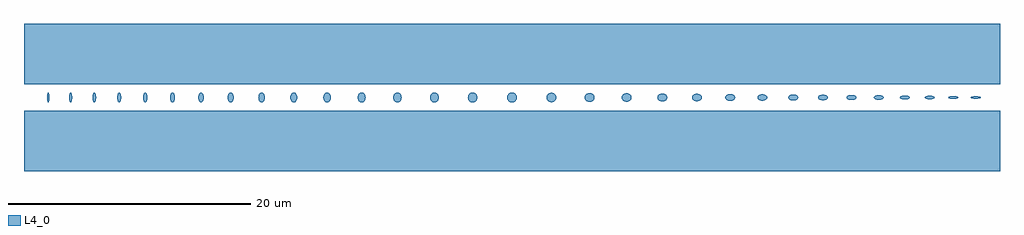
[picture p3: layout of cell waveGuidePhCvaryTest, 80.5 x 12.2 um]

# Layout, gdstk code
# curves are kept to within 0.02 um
import gdstk
lib = gdstk.Library(unit=1e-6, precision=1e-09)
def R(c, l, rs):  # rectangles x0, y0, x1, y1
    for r in rs: c.add(gdstk.rectangle(r[:2], r[2:], *l))
def P(c, l, *ps):  # polygons
    for p in ps: c.add(gdstk.Polygon(p, *l))
L4_0 = (4, 0)

waveguidephcvarytest = lib.new_cell('waveGuidePhCvaryTest')
R(waveguidephcvarytest, L4_0, [(-35.25,-10.1,45.25,-5.1), (-35.25,-2.9,45.25,2.1)])
P(waveguidephcvarytest, L4_0, [(-33.25,-4.4),(-33.281,-4.38),(-33.321,-4.283),(-33.35,-4),(-33.321,-3.717),(-33.281,-3.62),(-33.25,-3.6),(-33.219,-3.62),(-33.179,-3.717),(-33.15,-4),(-33.179,-4.283),(-33.219,-4.38)],
  [(-31.409,-4.399),(-31.488,-4.272),(-31.519,-3.94),(-31.475,-3.687),(-31.427,-3.61),(-31.391,-3.601),(-31.312,-3.728),(-31.281,-4.06),(-31.325,-4.313),(-31.373,-4.39)],
  [(-29.45,-4.4),(-29.542,-4.302),(-29.59,-4),(-29.556,-3.738),(-29.508,-3.636),(-29.45,-3.6),(-29.358,-3.698),(-29.31,-4),(-29.344,-4.262),(-29.392,-4.364)],
  [(-27.411,-4.399),(-27.474,-4.355),(-27.524,-4.252),(-27.559,-3.946),(-27.492,-3.673),(-27.389,-3.601),(-27.326,-3.645),(-27.276,-3.748),(-27.241,-4.054),(-27.308,-4.327)],
  [(-25.25,-4.4),(-25.319,-4.37),(-25.377,-4.283),(-25.43,-4),(-25.377,-3.717),(-25.319,-3.63),(-25.25,-3.6),(-25.181,-3.63),(-25.123,-3.717),(-25.07,-4),(-25.123,-4.283),(-25.181,-4.37)],
  [(-23.013,-4.399),(-23.085,-4.362),(-23.146,-4.274),(-23.2,-4),(-23.146,-3.726),(-23.085,-3.638),(-22.987,-3.601),(-22.915,-3.638),(-22.854,-3.726),(-22.8,-4),(-22.854,-4.274),(-22.915,-4.362)],
  [(-20.65,-4.4),(-20.728,-4.374),(-20.815,-4.265),(-20.87,-4),(-20.815,-3.735),(-20.728,-3.626),(-20.65,-3.6),(-20.572,-3.626),(-20.485,-3.735),(-20.43,-4),(-20.485,-4.265),(-20.572,-4.374)],
  [(-18.214,-4.399),(-18.295,-4.367),(-18.365,-4.291),(-18.426,-4.137),(-18.44,-4),(-18.426,-3.863),(-18.365,-3.709),(-18.269,-3.617),(-18.186,-3.601),(-18.105,-3.633),(-18.035,-3.709),(-17.974,-3.863),(-17.96,-4),(-17.974,-4.137),(-18.035,-4.291),(-18.131,-4.383)],
  [(-15.65,-4.4),(-15.736,-4.378),(-15.834,-4.283),(-15.884,-4.174),(-15.91,-4),(-15.884,-3.826),(-15.834,-3.717),(-15.736,-3.622),(-15.65,-3.6),(-15.564,-3.622),(-15.466,-3.717),(-15.416,-3.826),(-15.39,-4),(-15.416,-4.174),(-15.466,-4.283),(-15.564,-4.378)],
  [(-13.015,-4.399),(-13.104,-4.372),(-13.203,-4.275),(-13.254,-4.168),(-13.28,-4),(-13.254,-3.832),(-13.181,-3.695),(-13.104,-3.628),(-12.985,-3.601),(-12.896,-3.628),(-12.797,-3.725),(-12.746,-3.832),(-12.72,-4),(-12.746,-4.168),(-12.819,-4.305),(-12.896,-4.372)],
  [(-10.25,-4.4),(-10.372,-4.365),(-10.473,-4.268),(-10.524,-4.163),(-10.55,-4),(-10.524,-3.837),(-10.473,-3.732),(-10.372,-3.635),(-10.25,-3.6),(-10.128,-3.635),(-10.027,-3.732),(-9.976,-3.837),(-9.95,-4),(-9.976,-4.163),(-10.027,-4.268),(-10.128,-4.365)],
  [(-7.416,-4.399),(-7.541,-4.359),(-7.643,-4.261),(-7.72,-4),(-7.694,-3.842),(-7.62,-3.71),(-7.511,-3.625),(-7.384,-3.601),(-7.259,-3.641),(-7.157,-3.739),(-7.08,-4),(-7.106,-4.158),(-7.18,-4.29),(-7.289,-4.375)],
  [(-4.45,-4.4),(-4.58,-4.37),(-4.69,-4.283),(-4.764,-4.153),(-4.79,-4),(-4.764,-3.847),(-4.69,-3.717),(-4.58,-3.63),(-4.45,-3.6),(-4.32,-3.63),(-4.21,-3.717),(-4.136,-3.847),(-4.11,-4),(-4.136,-4.153),(-4.21,-4.283),(-4.32,-4.37)],
  [(-1.417,-4.4),(-1.55,-4.364),(-1.661,-4.276),(-1.734,-4.149),(-1.76,-4),(-1.734,-3.851),(-1.661,-3.724),(-1.55,-3.636),(-1.383,-3.6),(-1.25,-3.636),(-1.139,-3.724),(-1.066,-3.851),(-1.04,-4),(-1.066,-4.149),(-1.139,-4.276),(-1.25,-4.364)],
  [(1.75,-4.4),(1.613,-4.373),(1.494,-4.296),(1.41,-4.178),(1.37,-4),(1.41,-3.822),(1.494,-3.704),(1.613,-3.627),(1.75,-3.6),(1.887,-3.627),(2.006,-3.704),(2.09,-3.822),(2.13,-4),(2.09,-4.178),(2.006,-4.296),(1.887,-4.373)],
  [(4.982,-4.4),(4.843,-4.368),(4.699,-4.263),(4.626,-4.141),(4.6,-4),(4.64,-3.826),(4.724,-3.711),(4.843,-3.632),(5.018,-3.6),(5.157,-3.632),(5.301,-3.737),(5.374,-3.859),(5.4,-4),(5.36,-4.174),(5.276,-4.289),(5.157,-4.368)],
  [(8.25,-4.38),(8.072,-4.34),(7.954,-4.256),(7.877,-4.137),(7.85,-4),(7.877,-3.863),(7.954,-3.744),(8.072,-3.66),(8.25,-3.62),(8.428,-3.66),(8.546,-3.744),(8.623,-3.863),(8.65,-4),(8.623,-4.137),(8.546,-4.256),(8.428,-4.34)],
  [(11.381,-4.36),(11.234,-4.327),(11.111,-4.248),(11.029,-4.134),(11,-4),(11.044,-3.835),(11.138,-3.728),(11.269,-3.66),(11.419,-3.64),(11.566,-3.673),(11.689,-3.752),(11.771,-3.866),(11.8,-4),(11.756,-4.165),(11.662,-4.272),(11.531,-4.34)],
  [(14.45,-4.34),(14.297,-4.314),(14.167,-4.24),(14.08,-4.13),(14.05,-4),(14.08,-3.87),(14.167,-3.76),(14.297,-3.686),(14.45,-3.66),(14.603,-3.686),(14.733,-3.76),(14.82,-3.87),(14.85,-4),(14.82,-4.13),(14.733,-4.24),(14.603,-4.314)],
  [(17.38,-4.32),(17.224,-4.287),(17.096,-4.208),(17.018,-4.096),(17.008,-3.936),(17.072,-3.817),(17.188,-3.728),(17.339,-3.684),(17.5,-3.69),(17.645,-3.747),(17.75,-3.845),(17.792,-3.936),(17.792,-4.064),(17.75,-4.155),(17.645,-4.253)],
  [(20.25,-4.3),(20.087,-4.274),(19.982,-4.223),(19.885,-4.122),(19.85,-4),(19.885,-3.878),(19.982,-3.777),(20.087,-3.726),(20.25,-3.7),(20.413,-3.726),(20.518,-3.777),(20.615,-3.878),(20.65,-4),(20.615,-4.122),(20.518,-4.223),(20.413,-4.274)],
  [(22.978,-4.28),(22.776,-4.232),(22.657,-4.144),(22.602,-4.03),(22.621,-3.911),(22.71,-3.807),(22.893,-3.73),(23.065,-3.724),(23.224,-3.768),(23.379,-3.911),(23.4,-4),(23.379,-4.089),(23.224,-4.232)],
  [(25.65,-4.26),(25.437,-4.22),(25.272,-4.086),(25.26,-3.942),(25.367,-3.816),(25.561,-3.747),(25.739,-3.747),(25.933,-3.816),(26.028,-3.914),(26.04,-4.058),(25.963,-4.162),(25.824,-4.234)],
  [(28.177,-4.24),(27.961,-4.193),(27.843,-4.108),(27.8,-4),(27.866,-3.868),(28,-3.792),(28.177,-3.76),(28.4,-3.792),(28.534,-3.868),(28.6,-4),(28.534,-4.132),(28.4,-4.208)],
  [(30.65,-4.22),(30.464,-4.195),(30.321,-4.125),(30.25,-4),(30.296,-3.898),(30.464,-3.805),(30.65,-3.78),(30.836,-3.805),(30.979,-3.875),(31.05,-4),(31.004,-4.102),(30.836,-4.195)],
  [(32.975,-4.2),(32.786,-4.169),(32.628,-4.074),(32.603,-3.975),(32.676,-3.882),(32.83,-3.819),(33.025,-3.8),(33.214,-3.831),(33.372,-3.926),(33.397,-4.025),(33.324,-4.118),(33.17,-4.181)],
  [(35.25,-4.18),(34.933,-4.11),(34.853,-4.023),(34.864,-3.953),(34.967,-3.873),(35.146,-3.826),(35.354,-3.826),(35.567,-3.89),(35.647,-3.977),(35.62,-4.069),(35.494,-4.143)],
  [(37.373,-4.16),(37.169,-4.131),(37.033,-4.064),(37.004,-3.978),(37.127,-3.883),(37.319,-3.843),(37.534,-3.849),(37.71,-3.899),(37.796,-3.978),(37.767,-4.064),(37.673,-4.117)],
  [(39.45,-4.14),(39.148,-4.092),(39.066,-4.039),(39.054,-3.98),(39.148,-3.908),(39.337,-3.866),(39.563,-3.866),(39.752,-3.908),(39.846,-3.98),(39.814,-4.058),(39.666,-4.118)],
  [(41.37,-4.12),(41.151,-4.094),(41.04,-4.052),(41.004,-3.982),(41.107,-3.918),(41.311,-3.883),(41.546,-3.888),(41.693,-3.918),(41.796,-3.982),(41.782,-4.035),(41.693,-4.082)],
  [(43.25,-4.1),(42.967,-4.071),(42.87,-4.031),(42.85,-4),(42.926,-3.941),(43.068,-3.911),(43.313,-3.901),(43.533,-3.929),(43.645,-3.984),(43.63,-4.031),(43.485,-4.081)])

lib.write_gds('waveGuidePhCvaryTest.gds')
